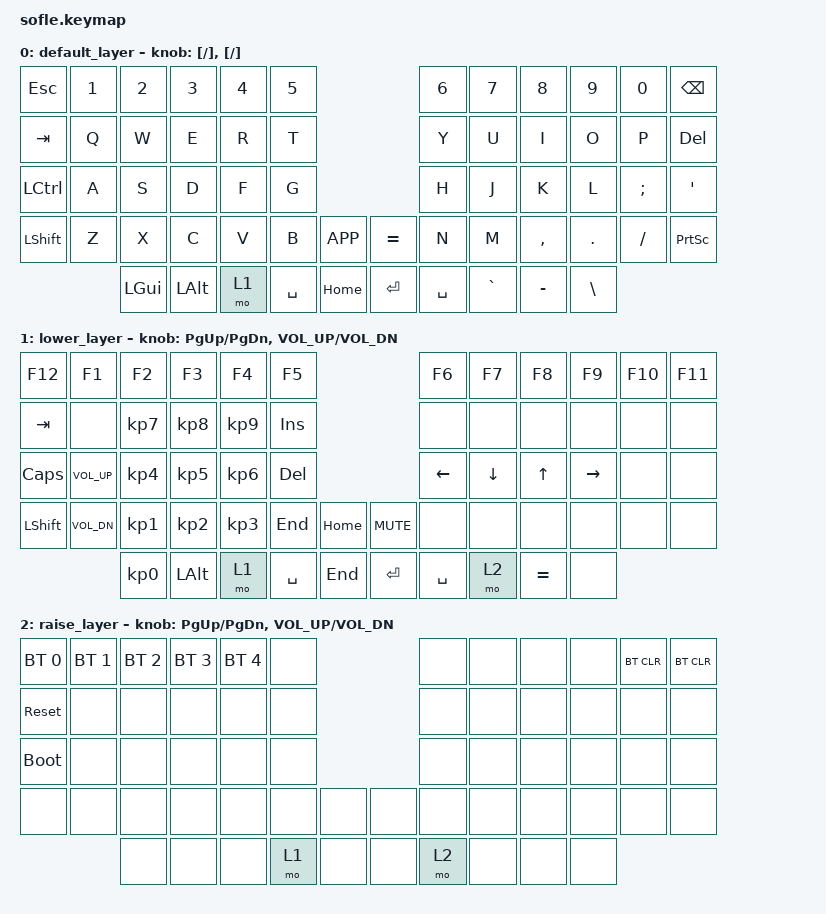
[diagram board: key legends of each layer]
/*
 * Copyright (c) 2020 The ZMK Contributors
 *
 * SPDX-License-Identifier: MIT
 */

/* Sara's keymap */

#include <behaviors.dtsi>
#include <dt-bindings/zmk/keys.h>
#include <dt-bindings/zmk/bt.h>


// raise layer should only be available if both modifiers (lower and raise) are pressed - so define mo 2 in lower layer
// don't use &trans (transparent), be explicit for all keypresses
// got a little lazy with the raise layer and kept the rotary encoder functions but not keypresses

/ {
    keymap {
        compatible = "zmk,keymap";

        default_layer {
// --note: right half lowest row is for work; ` (backticks/tilde), - (dash/underscore), and \ is for easy access to pipe (|)
// ---------------------------------------------------------------------------------------------------------------------
// |  ESC  |  1  |   2   |   3    |  4   |  5    |                      |   6    |   7    |   8    |   9   |   0   | BKSPC |
// |  TAB  |  Q  |   W   |   E    |  R   |  T    |                      |   Y    |   U    |   I    |   O   |   P   |  DEL  |
// | LCTRL |  A  |   S   |   D    |  F   |  G    |                      |   H    |   J    |   K    |   L   |   ;   |   '   |
// | SHIFT |  Z  |   X   |   C    |  V   |  B    |   HOME  |  |   =     |   N    |   M    |   ,    |   .   |   /   | PSCRN |
//               |  APP  |  GUI   | ALT  | LOWER |   SPACE |  |  SPACE  |  RET   |   `    |   -    |   \   |                  --see above note to understand why programmer symbols

            bindings = <
&kp ESC   &kp N1 &kp N2    &kp N3   &kp N4  &kp N5                          &kp N6    &kp N7    &kp N8    &kp N9   &kp N0   &kp BSPC
&kp TAB   &kp Q  &kp W     &kp E    &kp R   &kp T                           &kp Y     &kp U     &kp I     &kp O    &kp P    &kp DEL
&kp LCTRL &kp A  &kp S     &kp D    &kp F   &kp G                           &kp H     &kp J     &kp K     &kp L    &kp SEMI &kp SQT
&kp LSHFT &kp Z  &kp X     &kp C    &kp V   &kp B     &kp K_APP  &kp EQUAL  &kp N     &kp M     &kp COMMA &kp DOT  &kp FSLH &kp PSCRN
                 &kp LGUI  &kp LALT &mo 1   &kp SPACE &kp HOME   &kp RET    &kp SPACE &kp GRAVE &kp MINUS &kp BSLH
            >;

            sensor-bindings = <&inc_dec_kp LBKT RBKT &inc_dec_kp LBKT RBKT>;
        };

        lower_layer {
        //blank spaces mean NONE. Do not use &trans(parent) because we need feedback we're in the right layer
// -----------------------------------------------------------------------------------------------------------------------------
// | F12   | F1 |    F2 |        F3  |       F4 |    F5  |                      |  F6  |  F7   |  F8   |  F9  |  F10  |   F11  |
// | TAB   |    |   kp7 |       kp8  |      kp9 |   INS  |                      |      |       |       |      |       |        |
// | CAPS  |    |   kp4 |       kp5  |      kp6 |   DEL  |                      | <-   |  down | up    | ->   |       |        |
// | SHIFT |    |   kp1 |       kp2  |      kp3 |   END  |    HOME   |  | MUTE  |      |       |       |      |       |        |
//              |   kp0 |      LGUI  |     LALT |  LOWER |    SPACE  |  | SPACE | RAISE| RCTRL |       |      |

            bindings = <
&kp F12   &kp F1 &kp F2      &kp F3     &kp F4     &kp F5                         &kp F6    &kp F7    &kp F8    &kp F9    &kp F10 &kp F11
&kp TAB   &none  &kp KP_N7   &kp KP_N8  &kp KP_N9  &kp INS                        &none     &none     &none     &none     &none   &none
&kp CAPS  &kp C_VOL_UP  &kp KP_N4   &kp KP_N5  &kp KP_N6  &kp DEL                        &kp LEFT  &kp DOWN  &kp UP    &kp RIGHT &none   &none
&kp LSHFT &kp C_VOL_DN  &kp KP_N1   &kp KP_N2  &kp KP_N3  &kp END   &kp HOME  &kp C_MUTE &none     &none     &none     &none     &none   &none
                 &kp KP_N0   &kp LALT   &mo 1      &kp SPACE &kp END   &kp RET    &kp SPACE &mo 2     &kp EQUAL &none
            >;
            sensor-bindings = <&inc_dec_kp PG_UP PG_DN &inc_dec_kp C_VOL_UP C_VOL_DN>;
        };

        raise_layer {
// ------------------------------------------------------------------------------------------------------------------------------------------
// |  BT0     | BT1       | BT2       |  BT3       |  BT4       |      |                     |      |       |     |      |BT_CLR   | BT_CLR |
// | btload   |           |           |            |            |      |                     |      |       |     |      |         |        |
// | reset    |           |           |            |            |      |                     |      |       |     |      |         |        |
// |          |           |           |            |            |      |        |  |         |      |       |     |      |         |        |
//                        |           |            |            |LOWER |        |  |         |RAISE |       |     |      |
            bindings = <
&bt BT_SEL 0 &bt BT_SEL 1 &bt BT_SEL 2 &bt BT_SEL 3 &bt BT_SEL 4  &none                      &none    &none &none &none   &bt BT_CLR &bt BT_CLR
&sys_reset       &none        &none        &none        &none         &none                      &none    &none &none &none   &none      &none
&bootloader  &none        &none        &none        &none         &none                      &none    &none &none &none   &none      &none
&none        &none        &none        &none        &none         &none  &none        &none  &none    &none &none &none   &none      &none
                          &none        &none        &none         &mo 1  &none        &none  &mo 2    &none &none &none
            >;
            sensor-bindings = <&inc_dec_kp PG_UP PG_DN &inc_dec_kp C_VOL_UP C_VOL_DN>;
        };
    };
};

